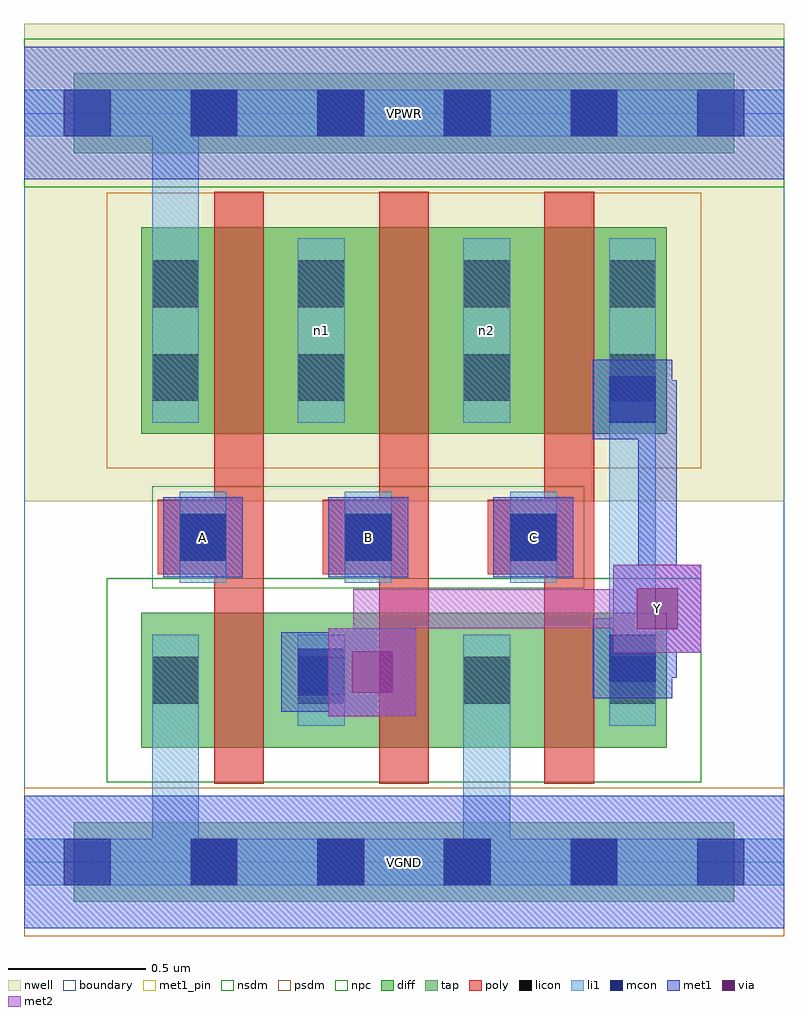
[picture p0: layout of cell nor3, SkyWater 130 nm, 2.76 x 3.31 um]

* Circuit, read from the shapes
.subckt nor3 A B C VGND VPWR Y n1 n2
XM1 Y A VGND VGND sky130_fd_pr__nfet_01v8 w=0.49 l=0.18
XM2 VGND B Y VGND sky130_fd_pr__nfet_01v8 w=0.49 l=0.18
XM3 Y C VGND VGND sky130_fd_pr__nfet_01v8 w=0.49 l=0.18
XM4 n1 A VPWR VPWR sky130_fd_pr__pfet_01v8 w=0.75 l=0.18
XM5 n2 B n1 VPWR sky130_fd_pr__pfet_01v8 w=0.75 l=0.18
XM6 Y C n2 VPWR sky130_fd_pr__pfet_01v8 w=0.75 l=0.18
.ends

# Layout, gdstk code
import gdstk
lib = gdstk.Library(unit=1e-6, precision=1e-09)
def R(c, l, rs):  # rectangles x0, y0, x1, y1
    for r in rs: c.add(gdstk.rectangle(r[:2], r[2:], *l))
def A(c, l, x, y, w, h, nx, ny, dx, dy):  # array of equal rectangles
    R(c, l, [(x+i*dx, y+j*dy, x+i*dx+w, y+j*dy+h) for i in range(nx) for j in range(ny)])
nwell = (64, 20)
diff = (65, 20)
tap = (65, 44)
poly = (66, 20)
licon = (66, 44)
li1 = (67, 20)
mcon = (67, 44)
met1_pin = (68, 16)
met1 = (68, 20)
via = (68, 44)
met2 = (69, 20)
nsdm = (93, 44)
psdm = (94, 20)
npc = (95, 20)
boundary = (235, 4)

nor3 = lib.new_cell('nor3')
R(nor3, nwell, [(0,1.31,2.76,3.045)])
R(nor3, diff, [(0.425,0.415,2.335,0.905), (0.425,1.555,2.335,2.305)])
R(nor3, tap, [(0.18,-0.145,2.58,0.145), (0.18,2.575,2.58,2.865)])
A(nor3, poly, 0.69, 0.285, 0.18, 2.15, 3, 1, 0.6, 0)
A(nor3, poly, 0.485, 1.045, 0.33, 0.27, 3, 1, 0.6, 0)
A(nor3, licon, 0.605, -0.085, 0.17, 0.17, 4, 2, 0.46, 2.72)
A(nor3, licon, 0.565, 1.095, 0.17, 0.17, 3, 1, 0.6, 0)
R(nor3, licon, [(0.465,0.575,0.635,0.745), (0.995,0.575,1.165,0.745), (1.595,0.575,1.765,0.745), (2.125,0.575,2.295,0.745), (0.465,1.675,0.635,1.845), (0.995,1.675,1.165,1.845), (1.595,1.675,1.765,1.845), (2.125,1.675,2.295,1.845), (0.465,2.015,0.635,2.185), (0.995,2.015,1.165,2.185), (1.595,2.015,1.765,2.185), (2.125,2.015,2.295,2.185)])
A(nor3, li1, 0.565, 1.015, 0.17, 0.33, 3, 1, 0.6, 0)
R(nor3, li1, [(0,-0.085,2.76,0.085), (0.465,-0.085,0.635,0.825), (1.595,-0.085,1.765,0.825), (0.465,0.495,0.635,0.825), (0.995,0.495,1.165,0.825), (1.595,0.495,1.765,0.825), (2.125,0.495,2.295,0.825), (2.125,0.495,2.295,2.265), (0.465,1.595,0.635,2.265), (0.465,1.595,0.635,2.805), (0.995,1.595,1.165,2.265), (1.595,1.595,1.765,2.265), (2.125,1.595,2.295,2.265), (0,2.635,2.76,2.805)])
A(nor3, mcon, 0.145, -0.085, 0.17, 0.17, 6, 2, 0.46, 2.72)
A(nor3, mcon, 0.565, 1.095, 0.17, 0.17, 3, 1, 0.6, 0)
R(nor3, mcon, [(0.995,0.605,1.165,0.775), (2.125,0.655,2.295,0.825), (2.125,1.595,2.295,1.765)])
A(nor3, met1_pin, 0.505, 1.035, 0.29, 0.29, 3, 1, 0.6, 0)
R(nor3, met1_pin, [(0,-0.24,2.76,0.24), (2.14,0.76,2.46,1.08), (0,2.48,2.76,2.96)])
A(nor3, met1, 0.505, 1.035, 0.29, 0.29, 3, 1, 0.6, 0)
R(nor3, met1, [(0,-0.24,2.76,0.24), (1.105,0.53,1.425,0.85), (0.935,0.545,1.225,0.835), (2.065,0.595,2.355,0.885), (1.01,0.62,1.335,0.76), (2.14,0.67,2.37,0.81), (2.23,0.67,2.37,0.99), (2.14,0.76,2.46,1.08), (2.23,0.85,2.37,1.565), (2.23,1.425,2.37,1.75), (2.065,1.535,2.355,1.825), (2.14,1.61,2.37,1.75), (0,2.48,2.76,2.96)])
R(nor3, via, [(1.19,0.615,1.34,0.765), (2.225,0.845,2.375,0.995)])
R(nor3, met2, [(1.105,0.53,1.425,0.85), (1.195,0.62,1.335,0.99), (2.14,0.76,2.46,1.08), (1.195,0.85,2.37,0.99)])
R(nor3, nsdm, [(0.3,0.29,2.46,1.03), (0,2.45,2.76,2.99)])
R(nor3, psdm, [(0,-0.27,2.76,0.27), (0.3,1.43,2.46,2.43)])
R(nor3, npc, [(0.465,0.995,2.035,1.365)])
R(nor3, boundary, [(0,0,2.76,2.72)])
nor3.add(gdstk.Label('n1', (1.08,1.93), layer=67, texttype=5))
nor3.add(gdstk.Label('n2', (1.68,1.93), layer=67, texttype=5))
nor3.add(gdstk.Label('A', (0.65,1.18), layer=68, texttype=5))
nor3.add(gdstk.Label('B', (1.25,1.18), layer=68, texttype=5))
nor3.add(gdstk.Label('C', (1.85,1.18), layer=68, texttype=5))
nor3.add(gdstk.Label('Y', (2.3,0.92), layer=68, texttype=5))
nor3.add(gdstk.Label('VPWR', (1.38,2.72), layer=68, texttype=5))
nor3.add(gdstk.Label('VGND', (1.38,0), layer=68, texttype=5))
nor3.add(gdstk.Label('A', (0.65,1.18), layer=68, texttype=16))
nor3.add(gdstk.Label('B', (1.25,1.18), layer=68, texttype=16))
nor3.add(gdstk.Label('C', (1.85,1.18), layer=68, texttype=16))
nor3.add(gdstk.Label('Y', (2.3,0.92), layer=68, texttype=16))
nor3.add(gdstk.Label('VPWR', (1.38,2.72), layer=68, texttype=16))
nor3.add(gdstk.Label('VGND', (1.38,0), layer=68, texttype=16))

lib.write_gds('nor3.gds')
